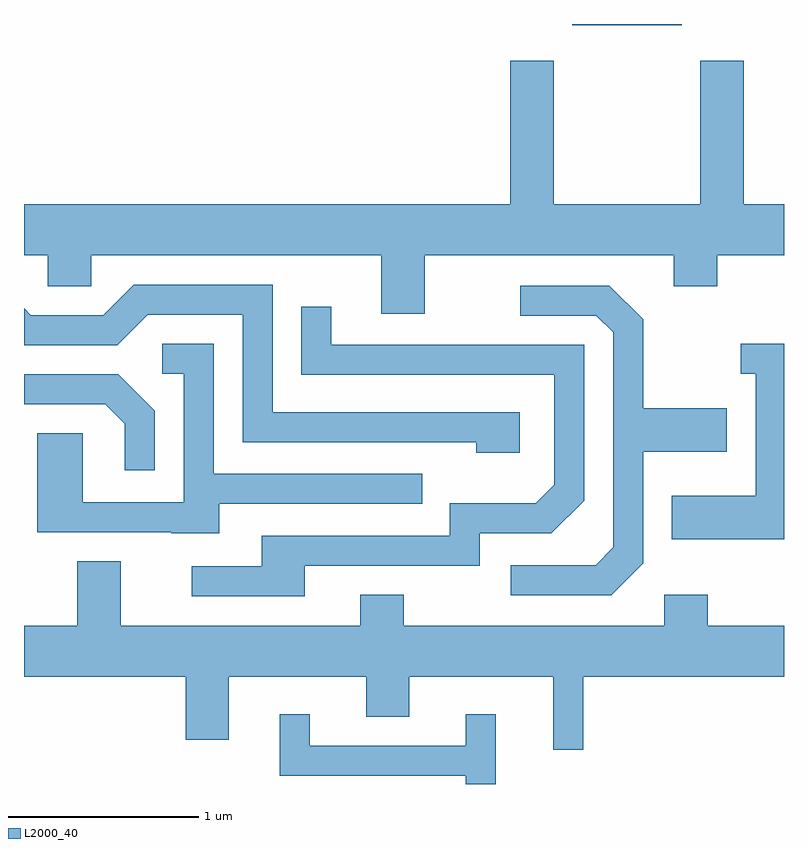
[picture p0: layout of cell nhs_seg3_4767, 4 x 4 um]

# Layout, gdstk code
import gdstk
lib = gdstk.Library(unit=1e-6, precision=1e-09)
def R(c, l, rs):  # rectangles x0, y0, x1, y1
    for r in rs: c.add(gdstk.rectangle(r[:2], r[2:], *l))
def P(c, l, *ps):  # polygons
    for p in ps: c.add(gdstk.Polygon(p, *l))
L2000_40 = (2000, 40)

nhs_seg3_4767 = lib.new_cell('nhs_seg3_4767')
R(nhs_seg3_4767, L2000_40, [(328.496,1133.886,329.074,1133.892)])
P(nhs_seg3_4767, L2000_40, [(327.719,1132.676),(329.031,1132.676),(329.031,1132.511),(329.259,1132.511),(329.259,1132.676),(329.611,1132.676),(329.611,1132.944),(329.399,1132.944),(329.399,1133.699),(329.171,1133.699),(329.171,1132.944),(328.399,1132.944),(328.399,1133.699),(328.171,1133.699),(328.171,1132.944),(325.611,1132.944),(325.611,1132.676),(325.736,1132.676),(325.736,1132.511),(325.964,1132.511),(325.964,1132.676),(327.491,1132.676),(327.491,1132.366),(327.719,1132.366)],
  [(328.219,1131.849),(326.919,1131.849),(326.919,1132.519),(326.189,1132.519),(326.029,1132.359),(325.647,1132.359),(325.611,1132.395),(325.611,1132.201),(326.102,1132.201),(326.262,1132.361),(326.761,1132.361),(326.761,1131.691),(327.991,1131.691),(327.991,1131.636),(328.219,1131.636)],
  [(328.869,1131.054),(328.869,1131.641),(329.309,1131.641),(329.309,1131.869),(328.869,1131.869),(328.869,1132.337),(328.692,1132.514),(328.223,1132.514),(328.223,1132.356),(328.624,1132.356),(328.711,1132.269),(328.711,1131.137),(328.619,1131.044),(328.173,1131.044),(328.173,1130.886),(328.702,1130.886)],
  [(327.089,1131.041),(328.009,1131.041),(328.009,1131.211),(328.387,1131.211),(328.559,1131.384),(328.559,1132.204),(327.229,1132.204),(327.229,1132.403),(327.071,1132.403),(327.071,1132.046),(328.401,1132.046),(328.401,1131.467),(328.304,1131.369),(327.851,1131.369),(327.851,1131.199),(326.861,1131.199),(326.861,1131.039),(326.493,1131.039),(326.493,1130.881),(327.089,1130.881)],
  [(326.639,1131.366),(327.708,1131.366),(327.708,1131.524),(326.609,1131.524),(326.609,1132.209),(326.338,1132.209),(326.338,1132.051),(326.451,1132.051),(326.451,1131.374),(325.919,1131.374),(325.919,1131.739),(325.681,1131.739),(325.681,1131.216),(326.385,1131.216),(326.385,1131.211),(326.639,1131.211)],
  [(329.611,1132.209),(329.383,1132.209),(329.383,1132.051),(329.461,1132.051),(329.461,1131.409),(329.021,1131.409),(329.021,1131.181),(329.611,1131.181)],
  [(326.299,1131.857),(326.107,1132.049),(325.611,1132.049),(325.611,1131.891),(326.039,1131.891),(326.141,1131.789),(326.141,1131.543),(326.299,1131.543)],
  [(328.554,1130.456),(329.611,1130.456),(329.611,1130.724),(329.209,1130.724),(329.209,1130.889),(328.981,1130.889),(328.981,1130.724),(327.609,1130.724),(327.609,1130.889),(327.381,1130.889),(327.381,1130.724),(326.119,1130.724),(326.119,1131.064),(325.891,1131.064),(325.891,1130.724),(325.611,1130.724),(325.611,1130.456),(326.461,1130.456),(326.461,1130.126),(326.689,1130.126),(326.689,1130.456),(327.411,1130.456),(327.411,1130.246),(327.639,1130.246),(327.639,1130.456),(328.396,1130.456),(328.396,1130.073),(328.554,1130.073)],
  [(328.094,1130.258),(327.936,1130.258),(327.936,1130.094),(327.114,1130.094),(327.114,1130.258),(326.956,1130.258),(326.956,1129.936),(327.936,1129.936),(327.936,1129.892),(328.094,1129.892)])

lib.write_gds('nhs_seg3_4767.gds')
